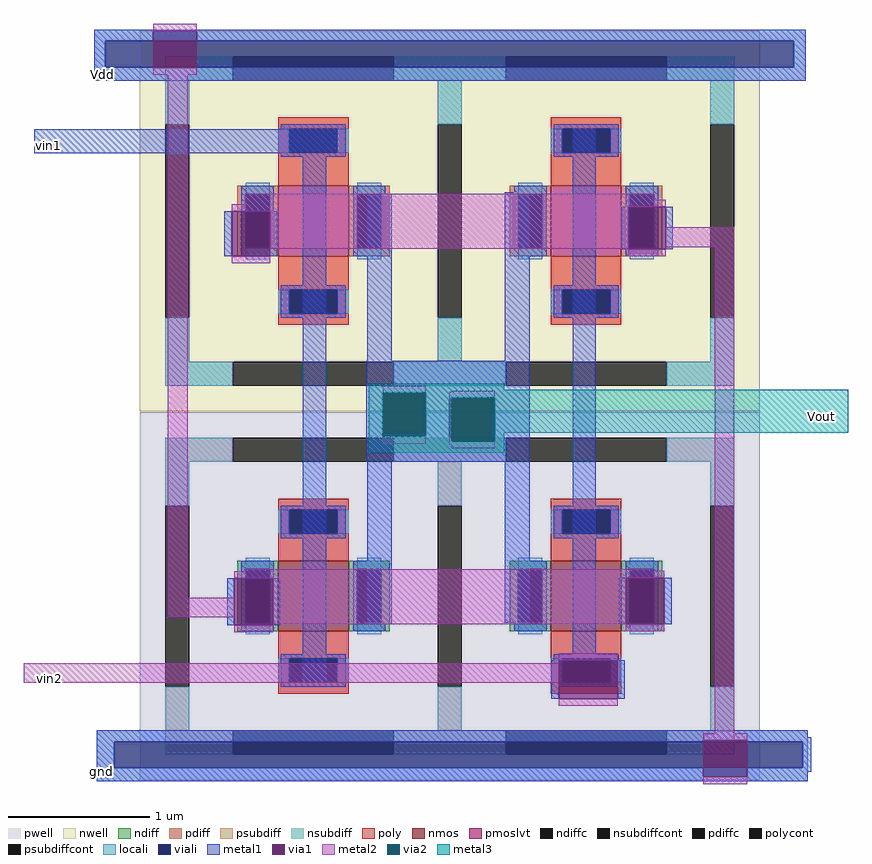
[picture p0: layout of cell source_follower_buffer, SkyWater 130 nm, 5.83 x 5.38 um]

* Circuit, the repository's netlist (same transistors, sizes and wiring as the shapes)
* SPICE3 file created from source_follower_buffer.ext - technology: sky130A

X0 out in1 vdd gnd sky130_fd_pr__nfet_01v8 ad=0.145 pd=1.58 as=0.145 ps=1.58 w=0.5 l=0.5
X1 vdd in2 out gnd sky130_fd_pr__nfet_01v8 ad=0.658625 pd=5.655 as=0.29 ps=3.16 w=0.5 l=0.5
X2 gnd in2 out vdd sky130_fd_pr__pfet_01v8_lvt ad=0.145 pd=1.58 as=0.145 ps=1.58 w=0.5 l=0.5
X3 out in1 gnd vdd sky130_fd_pr__pfet_01v8_lvt ad=0.29 pd=3.16 as=0.670725 ps=5.655 w=0.5 l=0.5

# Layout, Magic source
magic
tech sky130A
magscale 1 2
<< locali >>
rect -117 993 890 1009
rect -117 956 -102 993
rect 873 956 890 993
rect -117 937 890 956
rect -114 1 893 17
rect -114 -36 -89 1
rect 886 -36 893 1
rect -114 -55 893 -36
<< viali >>
rect -102 956 873 993
rect -89 -36 886 1
<< metal1 >>
rect -117 1007 890 1009
rect -117 993 -34 1007
rect 28 993 890 1007
rect -117 956 -102 993
rect 873 956 890 993
rect -117 955 -34 956
rect 28 955 890 956
rect -117 937 890 955
rect 178 868 211 873
rect -202 834 227 868
rect 67 688 77 752
rect 132 688 142 752
rect 71 166 81 232
rect 136 166 146 232
rect 178 84 211 834
rect 269 540 304 777
rect 464 540 499 779
rect 268 493 499 540
rect 268 439 291 493
rect 350 486 499 493
rect 350 439 385 486
rect 268 432 385 439
rect 444 432 499 486
rect 268 397 499 432
rect 269 167 304 397
rect 464 169 499 397
rect 560 116 593 872
rect 629 698 639 758
rect 692 698 702 758
rect 625 167 635 233
rect 690 167 700 233
rect 530 62 540 116
rect 624 62 634 116
rect -114 7 893 17
rect -114 3 898 7
rect -114 1 745 3
rect 807 1 898 3
rect -114 -36 -89 1
rect 886 -36 898 1
rect -114 -49 745 -36
rect 807 -42 898 -36
rect 807 -49 893 -42
rect -114 -55 893 -49
<< via1 >>
rect -34 993 28 1007
rect -34 956 28 993
rect -34 955 28 956
rect 77 688 132 752
rect 81 166 136 232
rect 291 439 350 493
rect 385 432 444 486
rect 639 698 692 758
rect 635 167 690 233
rect 540 62 624 116
rect 745 1 807 3
rect 745 -36 807 1
rect 745 -49 807 -36
<< metal2 >>
rect -34 1007 28 1017
rect -34 945 28 955
rect -13 205 15 945
rect 96 768 674 777
rect 96 762 692 768
rect 77 758 692 762
rect 77 752 639 758
rect 132 699 639 752
rect 692 701 789 729
rect 639 688 692 698
rect 77 678 132 688
rect 291 495 352 505
rect 389 496 450 498
rect 291 423 352 433
rect 385 488 450 496
rect 385 486 389 488
rect 385 426 389 432
rect 385 422 450 426
rect 389 416 450 422
rect 96 243 674 245
rect 96 242 690 243
rect 81 233 690 242
rect 81 232 635 233
rect -13 177 81 205
rect 136 167 635 232
rect 81 156 136 166
rect 635 157 690 167
rect 540 116 624 126
rect -217 84 540 112
rect 540 52 624 62
rect 761 13 789 701
rect 745 3 807 13
rect 745 -59 807 -49
<< via2 >>
rect 291 493 352 495
rect 291 439 350 493
rect 350 439 352 493
rect 291 433 352 439
rect 389 486 450 488
rect 389 432 444 486
rect 444 432 450 486
rect 389 426 450 432
<< metal3 >>
rect 271 499 463 508
rect 271 495 950 499
rect 271 433 291 495
rect 352 488 950 495
rect 352 433 389 488
rect 271 426 389 433
rect 450 438 950 488
rect 450 426 463 438
rect 271 410 463 426
use sky130_fd_pr__nfet_01v8_MKW48F  sky130_fd_pr__nfet_01v8_MKW48F_0 ~/layout_files/differential_amplifier
transform 1 0 579 0 1 207
box -246 -260 246 260
use sky130_fd_pr__nfet_01v8_SMGLWN  sky130_fd_pr__nfet_01v8_SMGLWN_0 ~/layout_files/differential_amplifier
transform 1 0 193 0 1 207
box -246 -260 246 260
use sky130_fd_pr__pfet_01v8_lvt_TM5SY6  sky130_fd_pr__pfet_01v8_lvt_TM5SY6_0 ~/layout_files/differential_amplifier
transform 1 0 579 0 1 738
box -246 -269 246 269
use sky130_fd_pr__pfet_01v8_lvt_TZF6Y6  sky130_fd_pr__pfet_01v8_lvt_TZF6Y6_0 ~/layout_files/differential_amplifier
transform 1 0 193 0 1 738
box -246 -269 246 269
<< labels >>
rlabel metal1 -182 845 -182 845 1 vin1
port 1 n
rlabel metal2 -181 91 -181 91 1 vin2
port 2 n
rlabel metal1 -107 -42 -107 -42 1 gnd
port 3 n
rlabel metal1 -106 945 -106 945 1 Vdd
port 4 n
rlabel metal3 912 462 912 462 1 Vout
port 5 n
<< end >>

# cell sky130_fd_pr__nfet_01v8_MKW48F: kit device sky130_fd_pr__nfet_01v8, w 0.5 l 0.50 m 1 nf 1 diffcov 100 polycov 100 guard 1 glc 1 grc 1 gtc 1 gbc 1 tbcov 100 rlcov 100 topc 1 botc 1 poverlap 0 doverlap 1 lmin 0.15 wmin 0.42 compatible {sky130_fd_pr__nfet_01v8 sky130_fd_pr__nfet_01v8_lvt sky130_fd_bs_flash__special_sonosfet_star sky130_fd_pr__nfet_g5v0d10v5 sky130_fd_pr__nfet_05v0_nvt sky130_fd_pr__nfet_03v3_nvt} full_metal 1 viasrc 100 viadrn 100 viagate 100 viagb 0 viagr 0 viagl 0 viagt 0

# cell sky130_fd_pr__nfet_01v8_SMGLWN: kit device sky130_fd_pr__nfet_01v8, w 0.5 l 0.5 m 1 nf 1 diffcov 100 polycov 100 guard 1 glc 1 grc 1 gtc 1 gbc 1 tbcov 100 rlcov 100 topc 1 botc 1 poverlap 0 doverlap 1 lmin 0.15 wmin 0.42 compatible {sky130_fd_pr__nfet_01v8 sky130_fd_pr__nfet_01v8_lvt sky130_fd_bs_flash__special_sonosfet_star sky130_fd_pr__nfet_g5v0d10v5 sky130_fd_pr__nfet_05v0_nvt sky130_fd_pr__nfet_03v3_nvt} full_metal 1 viasrc 100 viadrn 100 viagate 100 viagb 0 viagr 0 viagl 0 viagt 0

# cell sky130_fd_pr__pfet_01v8_lvt_TM5SY6: kit device sky130_fd_pr__pfet_01v8_lvt, w 0.5 l 0.5 m 1 nf 1 diffcov 100 polycov 100 guard 1 glc 1 grc 1 gtc 1 gbc 1 tbcov 100 rlcov 100 topc 1 botc 1 poverlap 0 doverlap 1 lmin 0.15 wmin 0.42 compatible {sky130_fd_pr__pfet_01v8 sky130_fd_pr__pfet_01v8_lvt sky130_fd_pr__pfet_01v8_hvt sky130_fd_pr__pfet_g5v0d10v5} full_metal 1 viasrc 100 viadrn 100 viagate 100 viagb 0 viagr 0 viagl 0 viagt 0

# cell sky130_fd_pr__pfet_01v8_lvt_TZF6Y6: kit device sky130_fd_pr__pfet_01v8_lvt, w 0.5 l 0.5 m 1 nf 1 diffcov 100 polycov 100 guard 1 glc 1 grc 1 gtc 1 gbc 1 tbcov 100 rlcov 100 topc 1 botc 1 poverlap 0 doverlap 1 lmin 0.35 wmin 0.42 compatible {sky130_fd_pr__pfet_01v8 sky130_fd_pr__pfet_01v8_lvt sky130_fd_pr__pfet_01v8_hvt sky130_fd_pr__pfet_g5v0d10v5} full_metal 1 viasrc 100 viadrn 100 viagate 100 viagb 0 viagr 0 viagl 0 viagt 0
